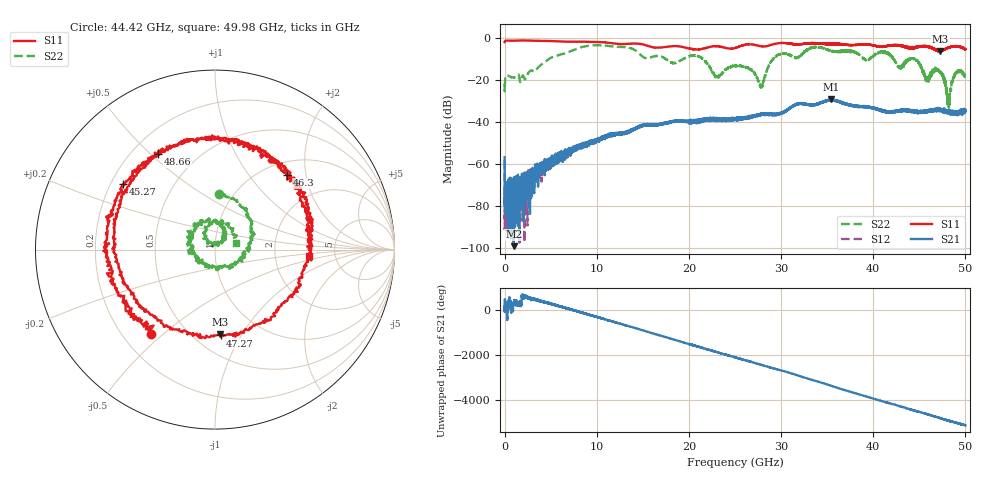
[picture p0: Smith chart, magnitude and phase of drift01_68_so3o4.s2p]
!Created with skrf (http://scikit-rf.org).
# Hz S RI R 50.0
!freq ReS11 ImS11 ReS21 ImS21 ReS12 ImS12 ReS22 ImS22
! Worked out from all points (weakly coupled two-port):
!   10001 points, 300 kHz to 50 GHz, reference 50 ohm
!   highest |S21| = -29.44 dB at 35.44 GHz (marker M1); lowest = -99.4 dB at 985.3 MHz (marker M2)
!   lowest |S11| = -6.5 dB at 47.28 GHz (marker M3), VSWR 2.79, Z = 33.3 - j40.5 ohm
!   |S11| at or under -10 dB: nowhere
!   |S22| runs from -33.4 to -3.6 dB; largest |S21 - S12| = 0.0037
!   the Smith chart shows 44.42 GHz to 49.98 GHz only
!   S11 on the Smith chart (normalised r, x): 44.42 GHz: 0.32, -0.46; 45.27 GHz: 0.25, +0.30; 46.3 GHz: 1.26, +1.57; 47.27 GHz: 0.66, -0.82; 48.66 GHz: 0.30, +0.53; 49.98 GHz: 3.20, -0.30
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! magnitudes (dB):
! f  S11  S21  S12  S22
! 300 kHz  -2.1  -56.9  -58.5  -22.0
! 255.3 MHz  -1.4  -79.8  -73.7  -18.0
! 985.3 MHz  -1.5  -99.4  -78.5  -19.0
! 8.335 GHz  -1.9  -50.9  -51.3  -4.5
! 16.67 GHz  -4.8  -41.2  -41.6  -8.7
! 20.97 GHz  -5.6  -39.6  -39.8  -8.8
! 23.1 GHz  -4.1  -39.3  -39.5  -18.6
! 25 GHz  -5.0  -38.5  -39.0  -13.5
! 27.86 GHz  -4.2  -36.7  -36.6  -23.2
! 29.44 GHz  -2.9  -36.5  -36.9  -8.9
! 33.34 GHz  -2.6  -32.1  -31.9  -4.7
! 35.44 GHz  -3.1  -29.4  -29.8  -6.2
! 41.67 GHz  -3.9  -35.5  -35.3  -8.0
! 44.42 GHz  -4.6  -34.9  -35.1  -10.2
! 45.27 GHz  -4.0  -35.4  -35.1  -15.2
! 46.3 GHz  -4.8  -34.5  -34.9  -18.0
! 47.27 GHz  -6.4  -34.4  -34.7  -16.3
! 47.28 GHz  -6.5  -34.6  -34.1  -16.3
! 48.14 GHz  -4.8  -36.3  -35.0  -29.8
! 48.66 GHz  -4.2  -35.3  -35.7  -19.5
! 49.98 GHz  -5.6  -34.6  -34.4  -18.1
! 50 GHz  -5.4  -34.7  -34.6  -18.1
